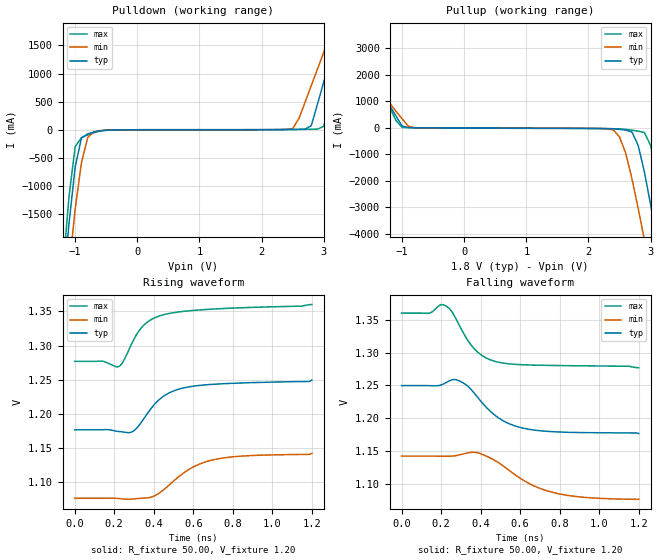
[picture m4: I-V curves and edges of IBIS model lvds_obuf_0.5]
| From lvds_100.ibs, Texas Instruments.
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|   Model lvds_obuf_0.5
[Model]   lvds_obuf_0.5
Model_type   Output
Polarity   Non-Inverting
Vmeas =   1.2000V
C_comp   4.00pF   4.00pF   4.00pF
[Temperature Range]   25.00   0.12k   -40.00
[Voltage Range]   1.80V   1.65V   1.95V
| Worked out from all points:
|   slope of the pulldown table from 0 to 0.27 V, typ, clamps not added: 576 ohm
|   slope of the pullup table from 0 to 0.27 V, typ, clamps not added: 20 kohm
|   rising waveform, R_fixture 50.00, V_fixture 1.20: 20-80 % time 169ps typ, 203ps min, 156ps max; typ from 1.18 V to 1.25 V
|   falling waveform, R_fixture 50.00, V_fixture 1.20: 20-80 % time 171ps typ, 228ps min, 129ps max; typ from 1.25 V to 1.18 V
[Pulldown]
| voltage   I(typ)   I(min)   I(max)
-1.8V     -11.13A    -11.46A    -11.46A
-1.2V     -2.91A     -3.63A     -2.51A
-1.1V     -1.67A     -2.47A     -1.19A
-1V       -660mA     -1.41A     -300mA
-900mV    -150mA     -590mA     -140mA
-700mV    -41.39mA   -36.94mA   -51.58mA
2.5V      5.49mA     20.23mA    3.63mA
2.8V      73.21mA    790mA      9.42mA
3V        850mA      1.38A      60.35mA
3.3V      2.03A      2.34A      1.54A
3.4V      2.43A      2.86A      2.04A
3.6V      3.24A      7.06A      3.05A
[Pullup]
| voltage   I(typ)   I(min)   I(max)
-1.8V     3.24A      3.32A      3.82A
-1.6V     2.42A      2.15A      2.8A
-1V       77.01mA    350mA      21.3mA
2.4V      -32.55mA   -70.62mA   -27.97mA
2.5V      -51.9mA    -340mA     -34.12mA
2.7V      -150mA     -1.92A     -81.39mA
2.9V      -1.66A     -4.23A     -170mA
3V        -2.9A      -5.46A     -660mA
3.1V      -4.22A     -6.71A     -1.82A
3.2V      -5.57A     -7.98A     -3.21A
3.3V      -6.94A     -9.28A     -4.67A
3.6V      -11.15A    -15.09A    -9.17A
[Ramp]
| variable   typ   min   max
dV/dt_r   0.31/0.19n   0.19/0.21n   0.43/0.17n
dV/dt_f   34.49m/0.13n   26.40m/0.19n   42.26m/81.22p
R_load = 50.00
[Rising Waveform]
R_fixture = 50.00
V_fixture = 1.20
V_fixture_min = 1.10
V_fixture_max = 1.30
| time   V(typ)   V(min)   V(max)
0s        1.177V     1.077V     1.277V
144ps     1.177V     1.077V     1.277V
228ps     1.174V     1.076V     1.27V
288ps     1.174V     1.076V     1.302V
336ps     1.187V     1.077V     1.325V
396ps     1.211V     1.079V     1.339V
456ps     1.227V     1.091V     1.345V
576ps     1.24V      1.119V     1.351V
696ps     1.243V     1.133V     1.353V
1.2ns     1.25V      1.143V     1.36V
[Falling Waveform]
R_fixture = 50.00
V_fixture = 1.20
V_fixture_min = 1.10
V_fixture_max = 1.30
| time   V(typ)   V(min)   V(max)
0s        1.25V      1.143V     1.36V
144ps     1.25V      1.143V     1.36V
192ps     1.25V      1.142V     1.372V
228ps     1.255V     1.142V     1.37V
288ps     1.257V     1.144V     1.344V
372ps     1.237V     1.148V     1.304V
492ps     1.2V       1.132V     1.285V
600ps     1.186V     1.109V     1.282V
756ps     1.18V      1.088V     1.28V
1.2ns     1.177V     1.077V     1.277V
